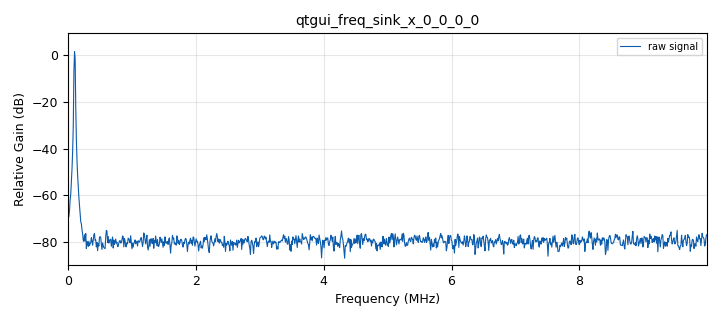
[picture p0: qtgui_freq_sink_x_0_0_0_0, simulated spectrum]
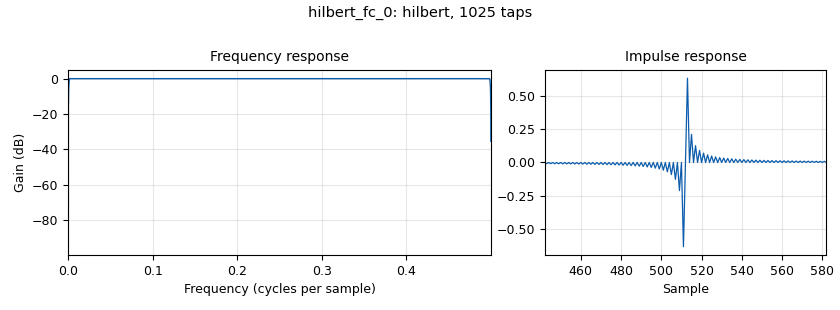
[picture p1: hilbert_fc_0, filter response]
<?xml version='1.0' encoding='utf-8'?>
<?grc format='1' created='3.7.11'?>
<flow_graph>
<block>
<key>options</key>
<param><key>id</key><value>top_block</value></param>
<param><key>author</key><value>rstein</value></param>
<param><key>generate_options</key><value>qt_gui</value></param>
<param><key>thread_safe_setters</key><value>1</value></param>
<param><key>title</key><value>RF amplitude detection</value></param>
</block>
<block>
<key>variable</key>
<param><key>id</key><value>PI</value></param>
<param><key>value</key><value>3.14159265359</value></param>
</block>
<block>
<key>variable_qtgui_range</key>
<param><key>id</key><value>amplitude</value></param>
<param><key>value</key><value>5</value></param>
<param><key>label</key><value>RF Amplitude [a.u.]</value></param>
<param><key>orient</key><value>Qt.Horizontal</value></param>
<param><key>start</key><value>1</value></param>
<param><key>step</key><value>0.1</value></param>
<param><key>stop</key><value>10.1</value></param>
</block>
<block>
<key>variable</key>
<param><key>id</key><value>decimation</value></param>
<param><key>value</key><value>10000</value></param>
</block>
<block>
<key>variable_qtgui_range</key>
<param><key>id</key><value>freq</value></param>
<param><key>value</key><value>1e5</value></param>
<param><key>label</key><value>RF Frequency [Hz]</value></param>
<param><key>orient</key><value>Qt.Horizontal</value></param>
<param><key>start</key><value>10e3</value></param>
<param><key>step</key><value>1e4</value></param>
<param><key>stop</key><value>1e6</value></param>
</block>
<block>
<key>variable</key>
<param><key>id</key><value>radSampleConversion</value></param>
<param><key>value</key><value>2*PI/samp_rate</value></param>
</block>
<block>
<key>variable</key>
<param><key>id</key><value>samp_rate</value></param>
<param><key>value</key><value>20000000</value></param>
</block>
<block>
<key>variable_qtgui_range</key>
<param><key>id</key><value>userDelay</value></param>
<param><key>value</key><value>1</value></param>
<param><key>label</key><value>Input Delay [samples]</value></param>
<param><key>orient</key><value>Qt.Horizontal</value></param>
<param><key>start</key><value>0</value></param>
<param><key>step</key><value>1</value></param>
<param><key>stop</key><value>160</value></param>
<param><key>rangeType</key><value>int</value></param>
</block>
<block>
<key>analog_noise_source_x</key>
<param><key>id</key><value>analog_noise_source_x_0_0</value></param>
<param><key>amp</key><value>0.01</value></param>
<param><key>noise_type</key><value>analog.GR_GAUSSIAN</value></param>
<param><key>type</key><value>float</value></param>
<param><key>seed</key><value>0</value></param>
</block>
<block>
<key>analog_pll_freqdet_cf</key>
<param><key>id</key><value>analog_pll_freqdet_cf_0</value></param>
<param><key>_enabled</key><value>0</value></param>
<param><key>w</key><value>1e6</value></param>
<param><key>max_freq</key><value>freq+1e5</value></param>
<param><key>min_freq</key><value>freq-1e5</value></param>
</block>
<block>
<key>analog_sig_source_x</key>
<param><key>id</key><value>analog_sig_source_x_0_0_0</value></param>
<param><key>amp</key><value>amplitude</value></param>
<param><key>freq</key><value>freq</value></param>
<param><key>offset</key><value>0</value></param>
<param><key>type</key><value>float</value></param>
<param><key>samp_rate</key><value>samp_rate</value></param>
<param><key>waveform</key><value>analog.GR_SIN_WAVE</value></param>
</block>
<block>
<key>analog_sig_source_x</key>
<param><key>id</key><value>analog_sig_source_x_0_0_0_0</value></param>
<param><key>amp</key><value>1</value></param>
<param><key>freq</key><value>freq</value></param>
<param><key>offset</key><value>0</value></param>
<param><key>type</key><value>float</value></param>
<param><key>samp_rate</key><value>samp_rate</value></param>
<param><key>waveform</key><value>analog.GR_SIN_WAVE</value></param>
</block>
<block>
<key>band_pass_filter</key>
<param><key>id</key><value>band_pass_filter_0</value></param>
<param><key>decim</key><value>1</value></param>
<param><key>_enabled</key><value>0</value></param>
<param><key>type</key><value>fir_filter_fff</value></param>
<param><key>gain</key><value>1</value></param>
<param><key>high_cutoff_freq</key><value>2e6</value></param>
<param><key>low_cutoff_freq</key><value>0</value></param>
<param><key>samp_rate</key><value>samp_rate</value></param>
<param><key>width</key><value>1e5</value></param>
<param><key>win</key><value>firdes.WIN_HANN</value></param>
</block>
<block>
<key>blocks_add_xx</key>
<param><key>id</key><value>blocks_add_xx_0</value></param>
<param><key>type</key><value>float</value></param>
</block>
<block>
<key>blocks_complex_to_float</key>
<param><key>id</key><value>blocks_complex_to_float_0</value></param>
</block>
<block>
<key>blocks_complex_to_float</key>
<param><key>id</key><value>blocks_complex_to_float_1</value></param>
</block>
<block>
<key>blocks_complex_to_magphase</key>
<param><key>id</key><value>blocks_complex_to_magphase_0</value></param>
</block>
<block>
<key>blocks_delay</key>
<param><key>id</key><value>blocks_delay_0</value></param>
<param><key>delay</key><value>userDelay</value></param>
<param><key>type</key><value>float</value></param>
</block>
<block>
<key>blocks_float_to_complex</key>
<param><key>id</key><value>blocks_float_to_complex_0</value></param>
</block>
<block>
<key>blocks_multiply_xx</key>
<param><key>id</key><value>blocks_multiply_xx_0</value></param>
<param><key>type</key><value>float</value></param>
</block>
<block>
<key>blocks_multiply_xx</key>
<param><key>id</key><value>blocks_multiply_xx_0_0</value></param>
<param><key>type</key><value>float</value></param>
</block>
<block>
<key>blocks_null_sink</key>
<param><key>id</key><value>blocks_null_sink_0</value></param>
<param><key>bus_conns</key><value>[[0,],]</value></param>
<param><key>type</key><value>float</value></param>
</block>
<block>
<key>blocks_null_sink</key>
<param><key>id</key><value>blocks_null_sink_0_0</value></param>
<param><key>bus_conns</key><value>[[0,],]</value></param>
<param><key>type</key><value>float</value></param>
</block>
<block>
<key>blocks_null_sink</key>
<param><key>id</key><value>blocks_null_sink_0_0_0</value></param>
<param><key>bus_conns</key><value>[[0,],]</value></param>
<param><key>type</key><value>float</value></param>
</block>
<block>
<key>blocks_throttle</key>
<param><key>id</key><value>blocks_throttle_0</value></param>
<param><key>_enabled</key><value>0</value></param>
<param><key>samples_per_second</key><value>samp_rate</value></param>
<param><key>type</key><value>float</value></param>
</block>
<block>
<key>blocks_throttle</key>
<param><key>id</key><value>blocks_throttle_0_0</value></param>
<param><key>samples_per_second</key><value>samp_rate</value></param>
<param><key>type</key><value>float</value></param>
</block>
<block>
<key>freq_xlating_fir_filter_xxx</key>
<param><key>id</key><value>freq_xlating_fir_filter_xxx_0</value></param>
<param><key>center_freq</key><value>0</value></param>
<param><key>decim</key><value>1</value></param>
<param><key>_enabled</key><value>0</value></param>
<param><key>samp_rate</key><value>samp_rate</value></param>
<param><key>type</key><value>ccc</value></param>
</block>
<block>
<key>hilbert_fc</key>
<param><key>id</key><value>hilbert_fc_0</value></param>
<param><key>num_taps</key><value>1024</value></param>
<param><key>win</key><value>firdes.WIN_HAMMING</value></param>
</block>
<block>
<key>hilbert_fc</key>
<param><key>id</key><value>hilbert_fc_0_0</value></param>
<param><key>num_taps</key><value>1024</value></param>
<param><key>win</key><value>firdes.WIN_HAMMING</value></param>
</block>
<block>
<key>low_pass_filter</key>
<param><key>id</key><value>low_pass_filter_0</value></param>
<param><key>cutoff_freq</key><value>2e6</value></param>
<param><key>decim</key><value>1</value></param>
<param><key>_enabled</key><value>0</value></param>
<param><key>type</key><value>fir_filter_fff</value></param>
<param><key>gain</key><value>1</value></param>
<param><key>samp_rate</key><value>samp_rate</value></param>
<param><key>width</key><value>100e3</value></param>
<param><key>win</key><value>firdes.WIN_HANN</value></param>
</block>
<block>
<key>low_pass_filter</key>
<param><key>id</key><value>low_pass_filter_1_1</value></param>
<param><key>cutoff_freq</key><value>1e3</value></param>
<param><key>decim</key><value>decimation</value></param>
<param><key>type</key><value>fir_filter_ccf</value></param>
<param><key>gain</key><value>2</value></param>
<param><key>samp_rate</key><value>samp_rate</value></param>
<param><key>width</key><value>1e2</value></param>
<param><key>win</key><value>firdes.WIN_HAMMING</value></param>
</block>
<block>
<key>qtgui_freq_sink_x</key>
<param><key>id</key><value>qtgui_freq_sink_x_0_0</value></param>
<param><key>autoscale</key><value>True</value></param>
<param><key>average</key><value>0.2</value></param>
<param><key>bw</key><value>samp_rate</value></param>
<param><key>fc</key><value>0</value></param>
<param><key>_enabled</key><value>0</value></param>
<param><key>fftsize</key><value>2048</value></param>
<param><key>grid</key><value>True</value></param>
<param><key>label1</key><value>raw signal</value></param>
<param><key>label2</key><value>low-pass</value></param>
<param><key>label3</key><value>band-pass</value></param>
<param><key>nconnections</key><value>3</value></param>
<param><key>showports</key><value>True</value></param>
<param><key>freqhalf</key><value>False</value></param>
<param><key>type</key><value>float</value></param>
<param><key>wintype</key><value>firdes.WIN_HANN</value></param>
</block>
<block>
<key>qtgui_freq_sink_x</key>
<param><key>id</key><value>qtgui_freq_sink_x_0_0_0_0</value></param>
<param><key>autoscale</key><value>True</value></param>
<param><key>average</key><value>0.2</value></param>
<param><key>bw</key><value>samp_rate</value></param>
<param><key>fc</key><value>0</value></param>
<param><key>fftsize</key><value>2048</value></param>
<param><key>grid</key><value>True</value></param>
<param><key>label1</key><value>raw signal</value></param>
<param><key>showports</key><value>True</value></param>
<param><key>freqhalf</key><value>False</value></param>
<param><key>type</key><value>float</value></param>
<param><key>wintype</key><value>firdes.WIN_HANN</value></param>
</block>
<block>
<key>qtgui_number_sink</key>
<param><key>id</key><value>qtgui_number_sink_0</value></param>
<param><key>avg</key><value>0.95</value></param>
<param><key>graph_type</key><value>qtgui.NUM_GRAPH_NONE</value></param>
<param><key>type</key><value>float</value></param>
<param><key>color1</key><value>("black", "red")</value></param>
<param><key>label1</key><value>detected RF Amplitude</value></param>
<param><key>unit1</key><value>[a.u.]</value></param>
<param><key>max</key><value>11</value></param>
<param><key>min</key><value>0</value></param>
</block>
<block>
<key>qtgui_number_sink</key>
<param><key>id</key><value>qtgui_number_sink_0_0</value></param>
<param><key>autoscale</key><value>True</value></param>
<param><key>avg</key><value>0.95</value></param>
<param><key>graph_type</key><value>qtgui.NUM_GRAPH_NONE</value></param>
<param><key>type</key><value>float</value></param>
<param><key>factor1</key><value>-180/PI</value></param>
<param><key>label1</key><value>detected RF Phase Delay</value></param>
<param><key>unit1</key><value>[a.u.]</value></param>
</block>
<block>
<key>qtgui_number_sink</key>
<param><key>id</key><value>qtgui_number_sink_0_0_0</value></param>
<param><key>autoscale</key><value>True</value></param>
<param><key>avg</key><value>0.9</value></param>
<param><key>_enabled</key><value>0</value></param>
<param><key>graph_type</key><value>qtgui.NUM_GRAPH_NONE</value></param>
<param><key>type</key><value>float</value></param>
<param><key>label1</key><value>detected RF Frequency</value></param>
<param><key>unit1</key><value>[Hz]</value></param>
</block>
<block>
<key>qtgui_time_sink_x</key>
<param><key>id</key><value>qtgui_time_sink_x_0_0_0</value></param>
<param><key>autoscale</key><value>True</value></param>
<param><key>_enabled</key><value>0</value></param>
<param><key>grid</key><value>True</value></param>
<param><key>color1</key><value>"blue"</value></param>
<param><key>label1</key><value>frequency</value></param>
<param><key>size</key><value>512</value></param>
<param><key>srate</key><value>1e3</value></param>
<param><key>type</key><value>float</value></param>
<param><key>ymax</key><value>11</value></param>
</block>
<connection><source_block_id>analog_noise_source_x_0_0</source_block_id><sink_block_id>blocks_add_xx_0</sink_block_id><source_key>0</source_key><sink_key>0</sink_key></connection>
<connection><source_block_id>analog_pll_freqdet_cf_0</source_block_id><sink_block_id>qtgui_time_sink_x_0_0_0</sink_block_id><source_key>0</source_key><sink_key>0</sink_key></connection>
<connection><source_block_id>analog_sig_source_x_0_0_0</source_block_id><sink_block_id>blocks_add_xx_0</sink_block_id><source_key>0</source_key><sink_key>1</sink_key></connection>
<connection><source_block_id>analog_sig_source_x_0_0_0_0</source_block_id><sink_block_id>hilbert_fc_0</sink_block_id><source_key>0</source_key><sink_key>0</sink_key></connection>
<connection><source_block_id>blocks_add_xx_0</source_block_id><sink_block_id>band_pass_filter_0</sink_block_id><source_key>0</source_key><sink_key>0</sink_key></connection>
<connection><source_block_id>blocks_add_xx_0</source_block_id><sink_block_id>blocks_delay_0</sink_block_id><source_key>0</source_key><sink_key>0</sink_key></connection>
<connection><source_block_id>blocks_add_xx_0</source_block_id><sink_block_id>blocks_throttle_0</sink_block_id><source_key>0</source_key><sink_key>0</sink_key></connection>
<connection><source_block_id>blocks_add_xx_0</source_block_id><sink_block_id>blocks_throttle_0_0</sink_block_id><source_key>0</source_key><sink_key>0</sink_key></connection>
<connection><source_block_id>blocks_add_xx_0</source_block_id><sink_block_id>low_pass_filter_0</sink_block_id><source_key>0</source_key><sink_key>0</sink_key></connection>
<connection><source_block_id>blocks_complex_to_float_0</source_block_id><sink_block_id>blocks_multiply_xx_0_0</sink_block_id><source_key>1</source_key><sink_key>1</sink_key></connection>
<connection><source_block_id>blocks_complex_to_float_0</source_block_id><sink_block_id>blocks_multiply_xx_0</sink_block_id><source_key>0</source_key><sink_key>1</sink_key></connection>
<connection><source_block_id>blocks_complex_to_float_1</source_block_id><sink_block_id>blocks_multiply_xx_0</sink_block_id><source_key>1</source_key><sink_key>0</sink_key></connection>
<connection><source_block_id>blocks_complex_to_float_1</source_block_id><sink_block_id>blocks_multiply_xx_0_0</sink_block_id><source_key>1</source_key><sink_key>0</sink_key></connection>
<connection><source_block_id>blocks_complex_to_float_1</source_block_id><sink_block_id>blocks_null_sink_0_0_0</sink_block_id><source_key>0</source_key><sink_key>0</sink_key></connection>
<connection><source_block_id>blocks_complex_to_magphase_0</source_block_id><sink_block_id>blocks_null_sink_0</sink_block_id><source_key>0</source_key><sink_key>0</sink_key></connection>
<connection><source_block_id>blocks_complex_to_magphase_0</source_block_id><sink_block_id>qtgui_number_sink_0</sink_block_id><source_key>0</source_key><sink_key>0</sink_key></connection>
<connection><source_block_id>blocks_complex_to_magphase_0</source_block_id><sink_block_id>blocks_null_sink_0_0</sink_block_id><source_key>1</source_key><sink_key>0</sink_key></connection>
<connection><source_block_id>blocks_complex_to_magphase_0</source_block_id><sink_block_id>qtgui_number_sink_0_0</sink_block_id><source_key>1</source_key><sink_key>0</sink_key></connection>
<connection><source_block_id>blocks_delay_0</source_block_id><sink_block_id>hilbert_fc_0_0</sink_block_id><source_key>0</source_key><sink_key>0</sink_key></connection>
<connection><source_block_id>blocks_float_to_complex_0</source_block_id><sink_block_id>low_pass_filter_1_1</sink_block_id><source_key>0</source_key><sink_key>0</sink_key></connection>
<connection><source_block_id>blocks_multiply_xx_0</source_block_id><sink_block_id>blocks_float_to_complex_0</sink_block_id><source_key>0</source_key><sink_key>1</sink_key></connection>
<connection><source_block_id>blocks_multiply_xx_0_0</source_block_id><sink_block_id>blocks_float_to_complex_0</sink_block_id><source_key>0</source_key><sink_key>0</sink_key></connection>
<connection><source_block_id>blocks_throttle_0</source_block_id><sink_block_id>qtgui_freq_sink_x_0_0</sink_block_id><source_key>0</source_key><sink_key>0</sink_key></connection>
<connection><source_block_id>blocks_throttle_0_0</source_block_id><sink_block_id>qtgui_freq_sink_x_0_0_0_0</sink_block_id><source_key>0</source_key><sink_key>0</sink_key></connection>
<connection><source_block_id>hilbert_fc_0</source_block_id><sink_block_id>analog_pll_freqdet_cf_0</sink_block_id><source_key>0</source_key><sink_key>0</sink_key></connection>
<connection><source_block_id>hilbert_fc_0</source_block_id><sink_block_id>blocks_complex_to_float_0</sink_block_id><source_key>0</source_key><sink_key>0</sink_key></connection>
<connection><source_block_id>hilbert_fc_0_0</source_block_id><sink_block_id>blocks_complex_to_float_1</sink_block_id><source_key>0</source_key><sink_key>0</sink_key></connection>
<connection><source_block_id>low_pass_filter_1_1</source_block_id><sink_block_id>blocks_complex_to_magphase_0</sink_block_id><source_key>0</source_key><sink_key>0</sink_key></connection>
</flow_graph>
